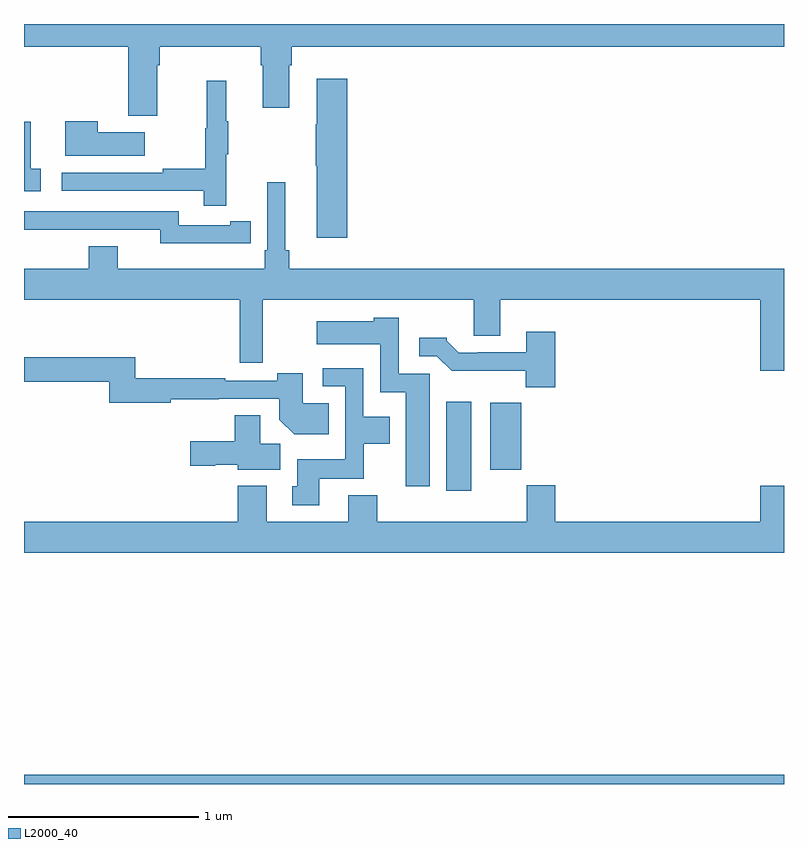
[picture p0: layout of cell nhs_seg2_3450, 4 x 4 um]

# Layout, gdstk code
import gdstk
lib = gdstk.Library(unit=1e-6, precision=1e-09)
def R(c, l, rs):  # rectangles x0, y0, x1, y1
    for r in rs: c.add(gdstk.rectangle(r[:2], r[2:], *l))
def P(c, l, *ps):  # polygons
    for p in ps: c.add(gdstk.Polygon(p, *l))
L2000_40 = (2000, 40)

nhs_seg2_3450 = lib.new_cell('nhs_seg2_3450')
R(nhs_seg2_3450, L2000_40, [(293,599.8,297,599.848), (295.223,601.344,295.354,601.813)])
P(nhs_seg2_3450, L2000_40, [(293.701,603.584),(293.714,603.584),(293.714,603.68),(294.245,603.68),(294.245,603.584),(294.257,603.584),(294.257,603.36),(294.397,603.36),(294.397,603.584),(294.41,603.584),(294.41,603.68),(297,603.68),(297,603.8),(293,603.8),(293,603.68),(293.549,603.68),(293.549,603.318),(293.701,603.318)],
  [(294.701,603.511),(294.542,603.511),(294.542,603.272),(294.535,603.272),(294.535,603.055),(294.542,603.055),(294.542,602.676),(294.701,602.676)],
  [(294.065,603.115),(294.076,603.115),(294.076,603.289),(294.065,603.289),(294.065,603.502),(293.962,603.502),(293.962,603.252),(293.955,603.252),(293.955,603.038),(293.731,603.038),(293.731,603.018),(293.199,603.018),(293.199,602.922),(293.947,602.922),(293.947,602.844),(294.065,602.844)],
  [(293.635,603.229),(293.387,603.229),(293.387,603.289),(293.216,603.289),(293.216,603.107),(293.635,603.107)],
  [(293.089,603.039),(293.036,603.039),(293.036,603.286),(293,603.286),(293,602.919),(293.089,602.919)],
  [(295.367,602.158),(295.507,602.158),(295.507,602.348),(296.876,602.348),(296.876,601.974),(297,601.974),(297,602.512),(294.395,602.512),(294.395,602.608),(294.376,602.608),(294.376,602.968),(294.279,602.968),(294.279,602.608),(294.266,602.608),(294.266,602.512),(293.494,602.512),(293.494,602.629),(293.342,602.629),(293.342,602.512),(293,602.512),(293,602.348),(294.136,602.348),(294.136,602.016),(294.257,602.016),(294.257,602.348),(295.367,602.348)],
  [(294.086,602.646),(294.194,602.646),(294.194,602.762),(294.086,602.762),(294.086,602.742),(293.814,602.742),(293.814,602.814),(293,602.814),(293,602.717),(293.258,602.717),(293.258,602.718),(293.718,602.718),(293.718,602.645),(294.086,602.645)],
  [(295.135,601.959),(294.972,601.959),(294.972,602.254),(294.84,602.254),(294.84,602.236),(294.54,602.236),(294.54,602.114),(294.876,602.114),(294.876,601.862),(295.01,601.862),(295.01,601.368),(295.135,601.368)],
  [(295.796,602.179),(295.643,602.179),(295.643,602.073),(295.387,602.073),(295.387,602.07),(295.288,602.07),(295.224,602.134),(295.224,602.149),(295.08,602.149),(295.08,602.052),(295.173,602.052),(295.252,601.974),(295.641,601.974),(295.641,601.889),(295.796,601.889)],
  [(294.605,601.804),(294.466,601.804),(294.466,601.962),(294.332,601.962),(294.332,601.923),(294.059,601.923),(294.059,601.936),(293.585,601.936),(293.585,602.047),(293,602.047),(293,601.918),(293.449,601.918),(293.449,601.807),(293.772,601.807),(293.772,601.825),(294.026,601.825),(294.026,601.827),(294.344,601.827),(294.344,601.718),(294.422,601.64),(294.605,601.64)],
  [(294.553,601.406),(294.789,601.406),(294.789,601.592),(294.925,601.592),(294.925,601.732),(294.786,601.732),(294.786,601.989),(294.573,601.989),(294.573,601.893),(294.69,601.893),(294.69,601.51),(294.437,601.51),(294.437,601.368),(294.413,601.368),(294.413,601.266),(294.553,601.266)],
  [(295.618,601.7),(295.616,601.7),(295.616,601.807),(295.454,601.807),(295.454,601.454),(295.618,601.454)],
  [(294.349,601.592),(294.244,601.592),(294.244,601.741),(294.11,601.741),(294.11,601.603),(293.874,601.603),(293.874,601.474),(294.006,601.474),(294.006,601.481),(294.126,601.481),(294.126,601.454),(294.349,601.454)],
  [(297,601.369),(296.876,601.369),(296.876,601.18),(295.796,601.18),(295.796,601.372),(295.645,601.372),(295.645,601.18),(294.86,601.18),(294.86,601.321),(294.707,601.321),(294.707,601.18),(294.277,601.18),(294.277,601.369),(294.125,601.369),(294.125,601.18),(293,601.18),(293,601.016),(297,601.016)])

lib.write_gds('nhs_seg2_3450.gds')
